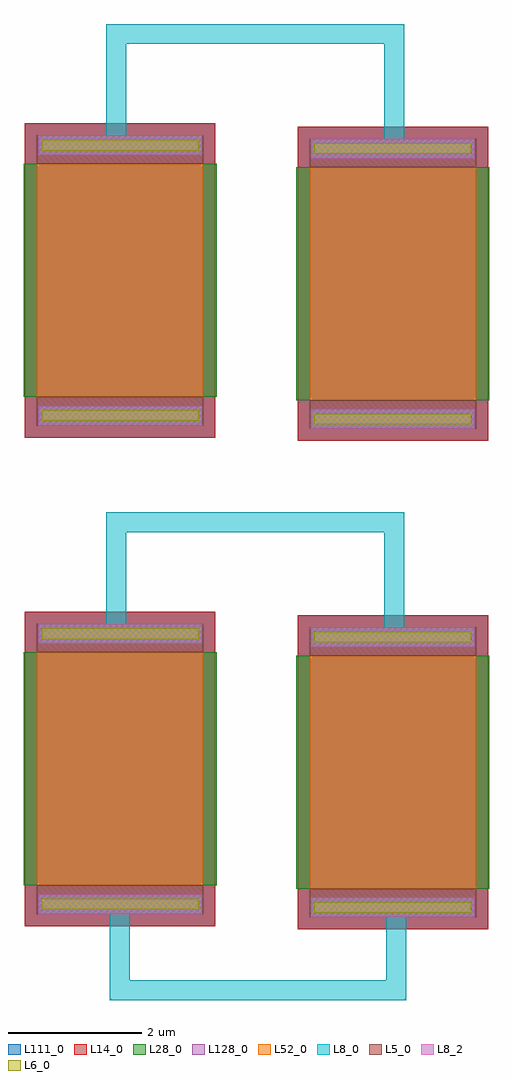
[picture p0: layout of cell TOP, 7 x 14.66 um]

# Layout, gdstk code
import gdstk
lib = gdstk.Library(unit=1e-6, precision=1e-09)
def R(c, l, rs):  # rectangles x0, y0, x1, y1
    for r in rs: c.add(gdstk.rectangle(r[:2], r[2:], *l))
L5_0 = (5, 0)
L6_0 = (6, 0)
L8_0 = (8, 0)
L8_2 = (8, 2)
L14_0 = (14, 0)
L28_0 = (28, 0)
L52_0 = (52, 0)
L111_0 = (111, 0)
L128_0 = (128, 0)

rppd_1 = lib.new_cell('rppd$1')
R(rppd_1, L5_0, [(0,-0.43,2.5,-0.2), (0,-0.2,2.5,0), (0,3.5,2.5,3.7), (0,3.7,2.5,3.93)])
R(rppd_1, L6_0, [(0.07,-0.36,2.43,-0.2), (0.07,3.7,2.43,3.86)])
R(rppd_1, L8_0, [(0.02,-0.43,2.48,-0.13), (0.02,3.63,2.48,3.93)])
R(rppd_1, L8_2, [(0.02,-0.43,2.48,-0.13), (0.02,3.63,2.48,3.93)])
R(rppd_1, L14_0, [(-0.18,-0.61,2.68,0), (-0.18,0,2.68,3.5), (-0.18,3.5,2.68,4.11)])
R(rppd_1, L28_0, [(-0.2,0,2.7,3.5)])
R(rppd_1, L52_0, [(0,0,2.5,3.5)])
R(rppd_1, L111_0, [(-0.18,-0.61,2.68,0), (-0.2,0,2.7,3.5), (-0.18,3.5,2.68,4.11)])
R(rppd_1, L128_0, [(0,0,2.5,3.5)])
rppd_1.add(gdstk.Label('rppd r=391.128', (1.25,1.75), layer=63, texttype=0))
rppd_1.add(gdstk.Label('rppd', (1.25,1.75), layer=52, texttype=0))

top = lib.new_cell('TOP')
top.add(gdstk.FlexPath([(-0.82,3.25),(-0.82,4.84),(3.355,4.84),(3.355,3.2)], 0.3, ends="flush", simple_path=True, layer=8, datatype=0))  # L8_0
top.add(gdstk.FlexPath([(-0.82,-4.085),(-0.82,-2.495),(3.355,-2.495),(3.355,-4.135)], 0.3, ends="flush", simple_path=True, layer=8, datatype=0))  # L8_0
top.add(gdstk.FlexPath([(-0.765,-8.145),(-0.765,-9.515),(3.385,-9.515),(3.385,-8.195),(3.385,-8.195)], 0.3, ends="flush", simple_path=True, layer=8, datatype=0))  # L8_0
top.add(gdstk.Reference(rppd_1, (-2.01,-0.61)))
top.add(gdstk.Reference(rppd_1, (2.085,-0.66)))
top.add(gdstk.Reference(rppd_1, (-2.01,-7.945)))
top.add(gdstk.Reference(rppd_1, (2.085,-7.995)))

lib.write_gds('TOP.gds')
